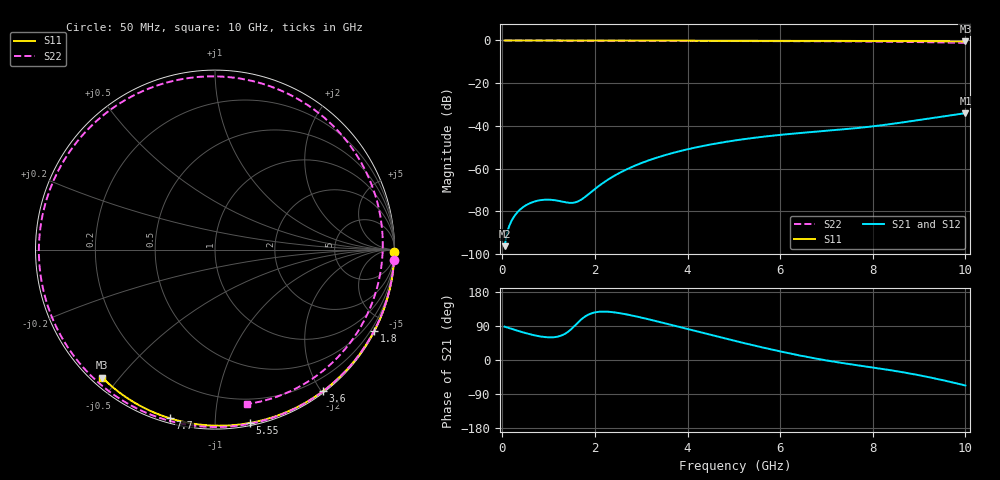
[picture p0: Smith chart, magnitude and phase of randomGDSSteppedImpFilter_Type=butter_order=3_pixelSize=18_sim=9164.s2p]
! freq	dB(S11)	phase(S11)	dB(S12)	phase(S12)
!  dB(S21)	phase(S21)	dB(S22)	phase(S22)
!S-par simulation data
#  GHz  S  DB  R 50
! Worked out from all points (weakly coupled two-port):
!   200 points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, 50 MHz to 10 GHz, reference 50 ohm
!   highest |S21| = -34.04 dB at 10 GHz (marker M1); lowest = -96.3 dB at 50 MHz (marker M2)
!   lowest |S11| = -0.4 dB at 10 GHz (marker M3), VSWR 39.09, Z = 1.54 - j22.6 ohm
!   |S11| at or under -10 dB: nowhere
!   |S22| runs from -1.1 to 0.0 dB; largest |S21 - S12| = 0
!   S11 on the Smith chart (normalised r, x): 50 MHz: open; 1.8 GHz: 0.04, -4.18; 3.6 GHz: 0.02, -2.02; 5.55 GHz: 0.02, -1.22; 7.7 GHz: 0.02, -0.77; 10 GHz: 0.03, -0.45
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0.05  -0.00 -0.8  -96.29 88.0  -96.29 88.0  -0.00 -3.3
0.35  -0.01 -5.3  -79.87 76.5  -79.87 76.5  -0.03 -22.7
0.6  -0.01 -9.1  -76.16 67.9  -76.16 67.9  -0.05 -38.4
0.9  -0.02 -13.6  -74.58 60.8  -74.58 60.8  -0.07 -56.5
1.2  -0.02 -18.0  -75.01 61.8  -75.01 61.8  -0.09 -73.6
1.5  -0.03 -22.5  -76.03 82.7  -76.03 82.7  -0.10 -89.5
1.75  -0.03 -26.2  -73.84 111.5  -73.84 111.5  -0.11 -101.8
1.8  -0.03 -26.9  -73.03 115.7  -73.03 115.7  -0.11 -104.2
2.6  -0.05 -38.5  -61.24 122.3  -61.24 122.3  -0.13 -138.9
3.4  -0.07 -49.8  -54.42 100.3  -54.42 100.3  -0.15 -169.0
3.6  -0.07 -52.6  -53.15 94.1  -53.15 94.1  -0.16 -176.1
4.3  -0.09 -62.2  -49.53 72.4  -49.53 72.4  -0.19 159.8
5.05  -0.11 -72.2  -46.71 49.6  -46.71 49.6  -0.23 133.9
5.55  -0.13 -78.6  -45.27 35.1  -45.27 35.1  -0.26 116.1
6.15  -0.15 -86.2  -43.88 18.8  -43.88 18.8  -0.30 93.6
6.7  -0.18 -93.0  -42.83 5.4  -42.83 5.4  -0.35 71.6
7.2  -0.21 -99.0  -41.93 -5.2  -41.93 -5.2  -0.41 50.4
7.7  -0.24 -105.0  -40.92 -14.5  -40.92 -14.5  -0.48 28.2
8.35  -0.29 -112.6  -39.24 -26.3  -39.24 -26.3  -0.60 -1.7
8.8  -0.32 -117.8  -37.87 -35.6  -37.87 -35.6  -0.71 -22.8
9.25  -0.37 -122.9  -36.43 -46.4  -36.43 -46.4  -0.84 -43.8
10  -0.44 -131.4  -34.04 -67.3  -34.04 -67.3  -1.12 -78.1
